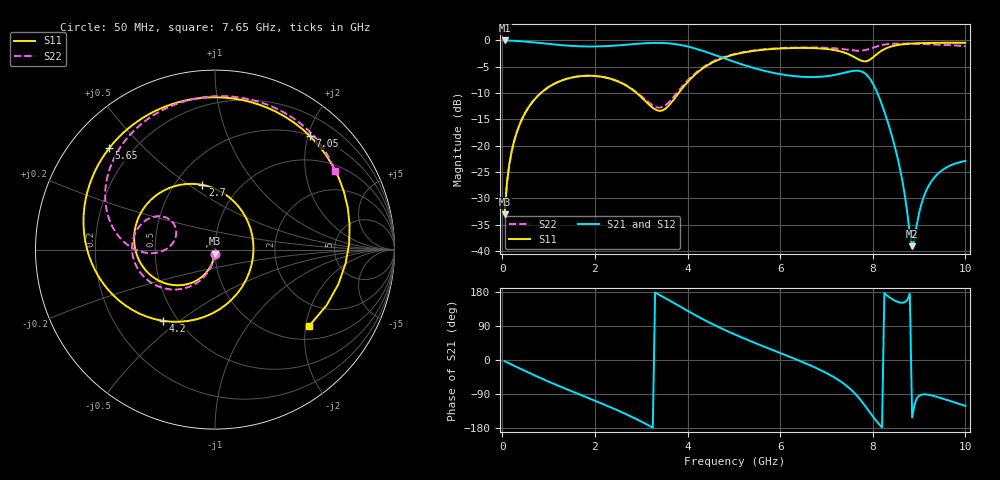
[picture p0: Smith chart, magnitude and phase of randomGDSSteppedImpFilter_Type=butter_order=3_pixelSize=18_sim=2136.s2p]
! freq	dB(S11)	phase(S11)	dB(S12)	phase(S12)
!  dB(S21)	phase(S21)	dB(S22)	phase(S22)
!S-par simulation data
#  GHz  S  DB  R 50
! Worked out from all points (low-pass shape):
!   200 points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, 50 MHz to 10 GHz, reference 50 ohm
!   highest |S21| = -0.01 dB at 50 MHz (marker M1); lowest = -39.1 dB at 8.85 GHz (marker M2)
!   |S21| within 3 dB of the highest: start of sweep to 4.664 GHz
!   lowest |S11| = -33.0 dB at 50 MHz (marker M3), VSWR 1.05, Z = 49.8 - j2.22 ohm
!   |S11| at or under -10 dB: start of sweep to 831.9 MHz; 2.902 GHz to 3.807 GHz (905.1 MHz wide, 27 % of centre)
!   |S22| runs from -33.0 to -0.6 dB; largest |S21 - S12| = 0
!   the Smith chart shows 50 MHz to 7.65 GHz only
!   S11 on the Smith chart (normalised r, x): 50 MHz: 1.00, -0.04; 2.7 GHz: 0.68, +0.57; 4.2 GHz: 0.42, -0.44; 5.65 GHz: 0.12, +0.40; 7.05 GHz: 0.51, +2.04; 7.65 GHz: 1.34, -2.09
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0.05  -33.04 -93.6  -0.01 -3.0  -0.01 -3.0  -33.04 -93.2
0.2  -21.18 -103.4  -0.05 -12.0  -0.05 -12.0  -21.18 -102.0
0.5  -13.67 -121.9  -0.22 -29.5  -0.22 -29.5  -13.66 -118.1
1.1  -8.33 -157.5  -0.76 -62.3  -0.76 -62.3  -8.33 -148.5
1.75  -6.74 165.7  -1.13 -95.0  -1.13 -95.0  -6.74 -176.9
2.7  -8.70 101.0  -0.80 -144.5  -0.80 -144.5  -8.64 149.8
3.4  -13.38 -1.4  -0.46 171.4  -0.46 171.4  -12.76 164.0
4.2  -6.19 -125.9  -1.63 116.2  -1.63 116.2  -5.97 175.7
5.05  -2.59 170.6  -4.19 65.8  -4.19 65.8  -2.50 139.9
5.65  -1.76 136.3  -5.75 35.4  -5.75 35.4  -1.68 114.4
6.2  -1.46 106.3  -6.68 8.7  -6.68 8.7  -1.38 91.6
6.7  -1.45 76.4  -6.96 -16.9  -6.96 -16.9  -1.33 70.6
7.05  -1.67 50.0  -6.73 -37.7  -6.73 -37.7  -1.43 55.8
7.4  -2.35 10.6  -6.11 -64.9  -6.11 -64.9  -1.70 41.6
7.65  -3.41 -38.9  -5.74 -93.1  -5.74 -93.1  -1.95 33.2
7.85  -3.97 -102.8  -6.40 -123.7  -6.40 -123.7  -1.81 28.1
8.05  -2.89 -171.5  -9.02 -156.9  -9.02 -156.9  -1.22 20.8
8.35  -1.29 122.9  -16.26 166.3  -16.26 166.3  -0.68 4.9
8.6  -0.79 91.9  -24.89 151.3  -24.89 151.3  -0.60 -8.7
8.85  -0.59 70.4  -39.08 -151.8  -39.08 -151.8  -0.62 -21.8
9.25  -0.47 44.9  -26.98 -92.9  -26.98 -92.9  -0.74 -42.4
10  -0.44 9.3  -22.89 -121.2  -22.89 -121.2  -1.05 -81.5
